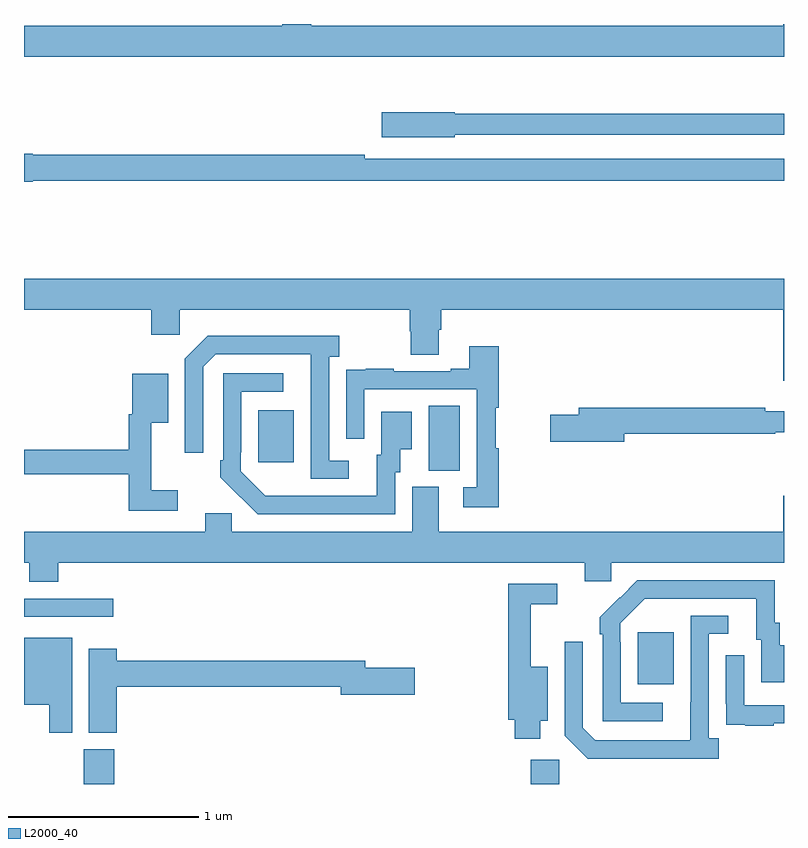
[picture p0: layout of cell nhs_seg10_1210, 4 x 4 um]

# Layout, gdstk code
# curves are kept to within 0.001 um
import gdstk
lib = gdstk.Library(unit=1e-6, precision=1e-09)
def R(c, l, rs):  # rectangles x0, y0, x1, y1
    for r in rs: c.add(gdstk.rectangle(r[:2], r[2:], *l))
def P(c, l, *ps):  # polygons
    for p in ps: c.add(gdstk.Polygon(p, *l))
L2000_40 = (2000, 40)

nhs_seg10_1210 = lib.new_cell('nhs_seg10_1210')
R(nhs_seg10_1210, L2000_40, [(173.314,1284.5,173.474,1284.684), (175.667,1284.5,175.818,1284.628), (176.231,1285.025,176.419,1285.3), (173,1285.38,173.47,1285.476), (175.13,1286.149,175.294,1286.492), (174.233,1286.193,174.421,1286.467)])
P(nhs_seg10_1210, L2000_40, [(177,1288.5),(176.996,1288.5),(176.996,1288.492),(174.512,1288.492),(174.512,1288.5),(174.359,1288.5),(174.359,1288.492),(173,1288.492),(173,1288.328),(177,1288.328)],
  [(175.266,1287.918),(177,1287.918),(177,1288.027),(175.266,1288.027),(175.266,1288.035),(174.882,1288.035),(174.882,1287.905),(175.266,1287.905)],
  [(173.046,1287.676),(177,1287.676),(177,1287.792),(174.794,1287.792),(174.794,1287.812),(173.046,1287.812),(173.046,1287.818),(173,1287.818),(173,1287.671),(173.046,1287.671)],
  [(177,1287.16),(173,1287.16),(173,1286.996),(173.669,1286.996),(173.669,1286.865),(173.82,1286.865),(173.82,1286.996),(175.031,1286.996),(175.031,1286.883),(175.036,1286.883),(175.036,1286.758),(175.183,1286.758),(175.183,1286.89),(175.196,1286.89),(175.196,1286.996),(176.996,1286.996),(176.996,1286.622),(177,1286.622)],
  [(174.709,1286.202),(174.606,1286.202),(174.606,1286.75),(174.658,1286.75),(174.658,1286.86),(173.968,1286.86),(173.847,1286.739),(173.847,1286.244),(173.943,1286.244),(173.943,1286.697),(174.009,1286.763),(174.509,1286.763),(174.51,1286.106),(174.709,1286.106)],
  [(175.499,1286.268),(175.484,1286.268),(175.484,1286.48),(175.499,1286.48),(175.499,1286.803),(175.343,1286.803),(175.343,1286.686),(175.247,1286.686),(175.247,1286.673),(174.947,1286.673),(174.947,1286.686),(174.799,1286.686),(174.799,1286.679),(174.697,1286.679),(174.697,1286.57),(174.696,1286.57),(174.696,1286.316),(174.792,1286.316),(174.792,1286.577),(175.383,1286.577),(175.383,1286.061),(175.311,1286.061),(175.311,1285.956),(175.499,1285.956)],
  [(174.954,1286.142),(174.979,1286.142),(174.979,1286.261),(175.042,1286.261),(175.042,1286.458),(174.881,1286.458),(174.881,1286.232),(174.857,1286.232),(174.857,1286.016),(174.27,1286.017),(174.141,1286.145),(174.141,1286.245),(174.144,1286.245),(174.144,1286.565),(174.364,1286.565),(174.364,1286.661),(174.048,1286.661),(174.048,1286.203),(174.033,1286.203),(174.033,1286.115),(174.23,1285.92),(174.954,1285.92)],
  [(173.809,1286.047),(173.669,1286.047),(173.669,1286.402),(173.758,1286.402),(173.758,1286.659),(173.57,1286.659),(173.57,1286.445),(173.551,1286.445),(173.551,1286.258),(173,1286.258),(173,1286.13),(173.551,1286.13),(173.551,1285.938),(173.809,1285.938)],
  [(176.158,1286.344),(176.954,1286.344),(176.954,1286.352),(177,1286.352),(177,1286.461),(176.9,1286.461),(176.9,1286.48),(175.919,1286.48),(175.919,1286.444),(175.77,1286.444),(175.77,1286.302),(176.158,1286.302)],
  [(173.18,1285.664),(175.952,1285.664),(175.952,1285.566),(176.091,1285.566),(176.091,1285.664),(177,1285.664),(177,1286.017),(176.996,1286.017),(176.996,1285.828),(175.183,1285.828),(175.183,1286.064),(175.043,1286.064),(175.043,1285.828),(174.093,1285.828),(174.093,1285.926),(173.954,1285.926),(173.954,1285.828),(173,1285.828),(173,1285.664),(173.027,1285.664),(173.027,1285.565),(173.18,1285.565)],
  [(176.362,1284.927),(176.142,1284.927),(176.142,1285.247),(176.139,1285.247),(176.139,1285.347),(176.268,1285.476),(176.855,1285.476),(176.855,1285.26),(176.879,1285.26),(176.879,1285.035),(177,1285.035),(177,1285.231),(176.977,1285.231),(176.977,1285.35),(176.952,1285.35),(176.952,1285.572),(176.228,1285.572),(176.031,1285.377),(176.031,1285.289),(176.046,1285.289),(176.046,1284.831),(176.362,1284.831)],
  [(175.717,1284.833),(175.756,1284.833),(175.756,1285.117),(175.667,1285.117),(175.667,1285.446),(175.807,1285.446),(175.807,1285.554),(175.549,1285.554),(175.549,1284.837),(175.583,1284.837),(175.583,1284.737),(175.717,1284.737)],
  [(176.656,1284.742),(176.604,1284.742),(176.604,1285.29),(176.707,1285.29),(176.707,1285.386),(176.508,1285.386),(176.507,1284.729),(176.007,1284.729),(175.941,1284.795),(175.941,1285.249),(175.845,1285.249),(175.845,1284.753),(175.966,1284.632),(176.656,1284.632)],
  [(173.254,1285.27),(173,1285.27),(173,1284.917),(173.132,1284.917),(173.132,1284.771),(173.254,1284.771)],
  [(173.489,1285.012),(174.668,1285.012),(174.668,1284.97),(175.057,1284.97),(175.057,1285.112),(174.796,1285.112),(174.796,1285.148),(173.489,1285.148),(173.489,1285.213),(173.342,1285.213),(173.342,1284.769),(173.489,1284.769)],
  [(176.945,1284.819),(177,1284.819),(177,1284.915),(176.79,1284.915),(176.79,1285.177),(176.694,1285.177),(176.694,1284.922),(176.695,1284.922),(176.695,1284.813),(176.797,1284.813),(176.797,1284.807),(176.945,1284.807)])

lib.write_gds('nhs_seg10_1210.gds')
